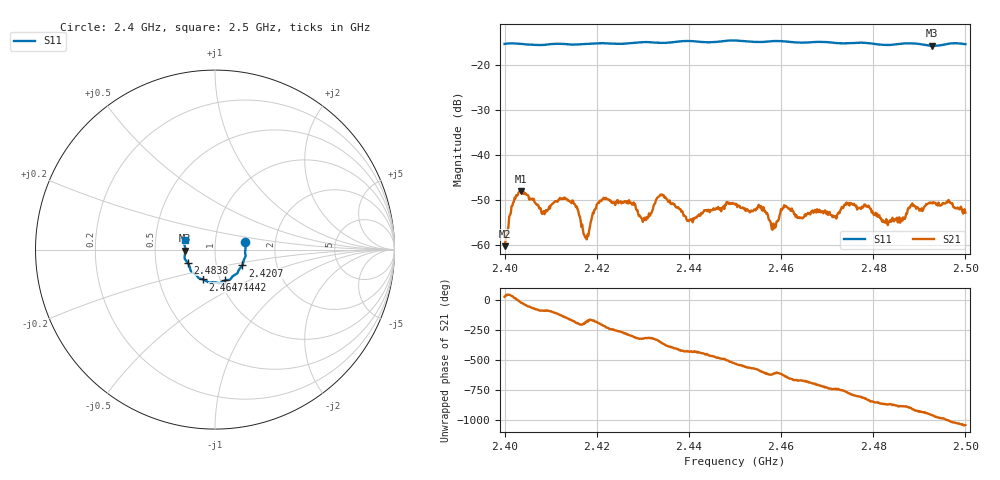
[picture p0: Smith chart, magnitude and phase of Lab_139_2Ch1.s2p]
# Hz S RI R 50
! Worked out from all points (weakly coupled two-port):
!   601 points, 2.4 GHz to 2.5 GHz, reference 50 ohm
!   highest |S21| = -48.06 dB at 2.4035 GHz (marker M1); lowest = -60.2 dB at 2.4 GHz (marker M2)
!   lowest |S11| = -15.6 dB at 2.4928 GHz (marker M3), VSWR 1.40, Z = 35.8 - j0.436 ohm
!   |S11| at or under -10 dB: start of sweep to end of sweep
!   S12 and S22 are empty: the file has one direction only
!   S11 on the Smith chart (normalised r, x): 2.4 GHz: 1.40, +0.12; 2.4207 GHz: 1.33, -0.24; 2.4442 GHz: 1.05, -0.37; 2.4647 GHz: 0.83, -0.29; 2.4838 GHz: 0.73, -0.11; 2.5 GHz: 0.71, +0.07
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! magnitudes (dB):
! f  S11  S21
! 2.4 GHz  -15.2  -60.2
! 2.402 GHz  -15.1  -50.3
! 2.4035 GHz  -15.2  -48.1
! 2.4085 GHz  -15.4  -52.4
! 2.4143 GHz  -15.3  -50.3
! 2.4167 GHz  -15.3  -55.9
! 2.4178 GHz  -15.2  -58.7
! 2.4207 GHz  -15.1  -50.1
! 2.4302 GHz  -14.8  -54.2
! 2.4333 GHz  -15.0  -49.3
! 2.44 GHz  -14.6  -54.7
! 2.4442 GHz  -14.9  -52.1
! 2.45 GHz  -14.4  -51.0
! 2.4583 GHz  -14.6  -55.2
! 2.4608 GHz  -14.7  -51.4
! 2.4647 GHz  -14.9  -54.0
! 2.4667 GHz  -14.8  -52.6
! 2.4785 GHz  -15.0  -51.4
! 2.4833 GHz  -15.5  -54.8
! 2.4838 GHz  -15.4  -54.8
! 2.4928 GHz  -15.6  -50.7
! 2.5 GHz  -15.3  -52.8
